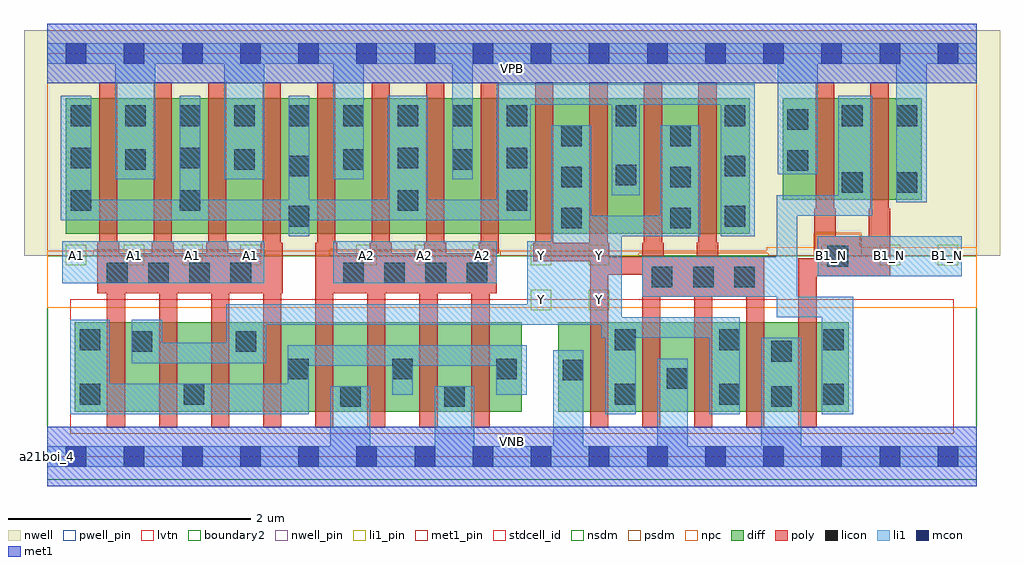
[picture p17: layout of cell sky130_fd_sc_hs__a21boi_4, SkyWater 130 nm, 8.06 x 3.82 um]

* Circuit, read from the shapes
.subckt sky130_fd_sc_hs__a21boi_4 A1 A2 B1_N VGND VNB VPB VPWR Y
XM1 Y A1 n1 VNB sky130_fd_pr__nfet_01v8_lvt w=0.74 l=0.15 m=4
XM2 VGND A2 n1 VNB sky130_fd_pr__nfet_01v8_lvt w=0.74 l=0.15 m=4
XM3 Y n2 VGND VNB sky130_fd_pr__nfet_01v8_lvt w=0.74 l=0.15 m=4
XM4 n2 B1_N VGND VNB sky130_fd_pr__nfet_01v8_lvt w=0.74 l=0.15
XM5 VPWR A1 n3 VPB sky130_fd_pr__pfet_01v8 w=1.12 l=0.15 m=4
XM6 VPWR A2 n3 VPB sky130_fd_pr__pfet_01v8 w=1.12 l=0.15 m=4
XM7 Y n2 n3 VPB sky130_fd_pr__pfet_01v8 w=1.12 l=0.15 m=4
XM8 n2 B1_N VPWR VPB sky130_fd_pr__pfet_01v8 w=0.84 l=0.15 m=2
.ends

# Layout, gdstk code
import gdstk
lib = gdstk.Library(unit=1e-6, precision=1e-09)
def R(c, l, rs):  # rectangles x0, y0, x1, y1
    for r in rs: c.add(gdstk.rectangle(r[:2], r[2:], *l))
def A(c, l, x, y, w, h, nx, ny, dx, dy):  # array of equal rectangles
    R(c, l, [(x+i*dx, y+j*dy, x+i*dx+w, y+j*dy+h) for i in range(nx) for j in range(ny)])
def P(c, l, *ps):  # polygons
    for p in ps: c.add(gdstk.Polygon(p, *l))
nwell_pin = (64, 16)
nwell = (64, 20)
diff = (65, 20)
poly = (66, 20)
licon = (66, 44)
li1_pin = (67, 16)
li1 = (67, 20)
mcon = (67, 44)
met1_pin = (68, 16)
met1 = (68, 20)
stdcell_id = (81, 4)
nsdm = (93, 44)
psdm = (94, 20)
npc = (95, 20)
pwell_pin = (122, 16)
lvtn = (125, 44)
boundary2 = (236, 0)

sky130_fd_sc_hs__a21boi_ = lib.new_cell('sky130_fd_sc_hs__a21boi_4')
R(sky130_fd_sc_hs__a21boi_, nwell_pin, [(0,3.085,7.68,3.33)])
R(sky130_fd_sc_hs__a21boi_, nwell, [(-0.19,1.66,7.87,3.52)])
R(sky130_fd_sc_hs__a21boi_, diff, [(0.23,0.37,3.92,1.11), (4.22,0.37,6.62,1.11), (0.155,1.84,5.805,2.96), (6.075,2.12,7.225,2.96)])
P(sky130_fd_sc_hs__a21boi_, poly, [(1.945,1.765),(1.93,1.765),(1.93,3.09),(1.78,3.09),(1.78,1.765),(1.765,1.765),(1.765,1.68),(1.495,1.68),(1.495,1.765),(1.48,1.765),(1.48,3.09),(1.33,3.09),(1.33,1.765),(1.315,1.765),(1.315,1.68),(1.045,1.68),(1.045,1.765),(1.03,1.765),(1.03,3.09),(0.88,3.09),(0.88,1.765),(0.865,1.765),(0.865,1.68),(0.595,1.68),(0.595,1.765),(0.58,1.765),(0.58,3.09),(0.43,3.09),(0.43,1.765),(0.415,1.765),(0.415,1.35),(0.495,1.35),(0.495,0.24),(0.645,0.24),(0.645,1.35),(0.925,1.35),(0.925,0.24),(1.075,0.24),(1.075,1.35),(1.355,1.35),(1.355,0.24),(1.505,0.24),(1.505,1.35),(1.785,1.35),(1.785,0.24),(1.935,0.24),(1.935,1.35),(1.945,1.35)],
  [(3.73,3.09),(3.58,3.09),(3.58,1.765),(3.565,1.765),(3.565,1.68),(3.295,1.68),(3.295,1.765),(3.28,1.765),(3.28,3.09),(3.13,3.09),(3.13,1.765),(3.115,1.765),(3.115,1.68),(2.845,1.68),(2.845,1.765),(2.83,1.765),(2.83,3.09),(2.68,3.09),(2.68,1.765),(2.665,1.765),(2.665,1.68),(2.395,1.68),(2.395,1.765),(2.38,1.765),(2.38,3.09),(2.23,3.09),(2.23,1.765),(2.215,1.765),(2.215,0.24),(2.365,0.24),(2.365,1.35),(2.645,1.35),(2.645,0.24),(2.795,0.24),(2.795,1.35),(3.075,1.35),(3.075,0.24),(3.225,0.24),(3.225,1.35),(3.505,1.35),(3.505,0.24),(3.655,0.24),(3.655,1.35),(3.715,1.35),(3.715,1.68),(3.73,1.68)],
  [(5.925,1.65),(5.545,1.65),(5.545,1.765),(5.53,1.765),(5.53,3.09),(5.38,3.09),(5.38,1.765),(5.365,1.765),(5.365,1.65),(5.095,1.65),(5.095,1.765),(5.08,1.765),(5.08,3.09),(4.93,3.09),(4.93,1.765),(4.915,1.765),(4.915,1.65),(4.645,1.65),(4.645,1.765),(4.63,1.765),(4.63,3.09),(4.48,3.09),(4.48,1.765),(4.18,1.765),(4.18,3.09),(4.03,3.09),(4.03,1.765),(4.015,1.765),(4.015,1.615),(4.485,1.615),(4.485,0.24),(4.635,0.24),(4.635,1.5),(4.915,1.5),(4.915,0.24),(5.065,0.24),(5.065,1.32),(5.345,1.32),(5.345,0.24),(5.495,0.24),(5.495,1.32),(5.775,1.32),(5.775,0.24),(5.925,0.24)],
  [(6.965,2.045),(6.95,2.045),(6.95,3.09),(6.8,3.09),(6.8,2.045),(6.785,2.045),(6.785,1.82),(6.515,1.82),(6.515,2.045),(6.5,2.045),(6.5,3.09),(6.35,3.09),(6.35,2.045),(6.335,2.045),(6.335,1.64),(6.205,1.64),(6.205,0.24),(6.355,0.24),(6.355,1.49),(6.965,1.49)])
A(sky130_fd_sc_hs__a21boi_, licon, 4.69, 0.43, 0.17, 0.17, 3, 2, 0.86, 0.45)
A(sky130_fd_sc_hs__a21boi_, licon, 1.99, 0.64, 0.17, 0.17, 3, 1, 0.86, 0)
A(sky130_fd_sc_hs__a21boi_, licon, 4.995, 1.4, 0.17, 0.17, 3, 1, 0.34, 0)
A(sky130_fd_sc_hs__a21boi_, licon, 0.495, 1.43, 0.17, 0.17, 4, 1, 0.34, 0)
A(sky130_fd_sc_hs__a21boi_, licon, 2.445, 1.43, 0.17, 0.17, 4, 1, 0.34, 0)
A(sky130_fd_sc_hs__a21boi_, licon, 4.245, 1.885, 0.17, 0.17, 1, 3, 0, 0.34)
A(sky130_fd_sc_hs__a21boi_, licon, 5.145, 1.885, 0.17, 0.17, 1, 3, 0, 0.34)
A(sky130_fd_sc_hs__a21boi_, licon, 5.595, 1.9, 0.17, 0.17, 1, 3, 0, 0.415)
A(sky130_fd_sc_hs__a21boi_, licon, 0.645, 2.37, 0.17, 0.17, 4, 1, 0.9, 0)
A(sky130_fd_sc_hs__a21boi_, licon, 0.195, 2.73, 0.17, 0.17, 9, 1, 0.45, 0)
R(sky130_fd_sc_hs__a21boi_, licon, [(2.42,0.41,2.59,0.58), (3.28,0.41,3.45,0.58), (5.98,0.41,6.15,0.58), (0.27,0.43,0.44,0.6), (1.13,0.43,1.3,0.6), (5.12,0.56,5.29,0.73), (4.26,0.63,4.43,0.8), (5.98,0.785,6.15,0.955), (0.7,0.865,0.87,1.035), (1.56,0.865,1.73,1.035), (0.27,0.88,0.44,1.05), (6.445,1.57,6.615,1.74), (1.995,1.9,2.165,2.07), (0.195,2.03,0.365,2.2), (1.095,2.03,1.265,2.2), (2.895,2.03,3.065,2.2), (3.795,2.03,3.965,2.2), (6.565,2.18,6.735,2.35), (7.015,2.18,7.185,2.35), (4.695,2.24,4.865,2.41), (1.995,2.315,2.165,2.485), (6.115,2.36,6.285,2.53), (0.195,2.38,0.365,2.55), (1.095,2.38,1.265,2.55), (2.895,2.38,3.065,2.55), (3.795,2.38,3.965,2.55), (6.115,2.7,6.285,2.87), (4.695,2.73,4.865,2.9), (6.565,2.73,6.735,2.9), (7.015,2.73,7.185,2.9)])
A(sky130_fd_sc_hs__a21boi_, li1_pin, 0.155, 1.58, 0.17, 0.17, 4, 1, 0.48, 0)
A(sky130_fd_sc_hs__a21boi_, li1_pin, 2.555, 1.58, 0.17, 0.17, 5, 1, 0.48, 0)
A(sky130_fd_sc_hs__a21boi_, li1_pin, 6.395, 1.58, 0.17, 0.17, 3, 1, 0.48, 0)
R(sky130_fd_sc_hs__a21boi_, li1_pin, [(3.995,1.21,4.165,1.38), (4.475,1.21,4.645,1.38)])
R(sky130_fd_sc_hs__a21boi_, li1, [(0.125,1.43,1.795,1.78), (2.365,1.43,3.715,1.78), (6.365,1.49,7.555,1.82)])
P(sky130_fd_sc_hs__a21boi_, li1, [(7.015,2.1),(7.015,3.245),(6.365,3.245),(6.365,2.33),(6.035,2.33),(6.035,3.245),(3.515,3.245),(3.515,2.29),(3.345,2.29),(3.345,3.245),(2.615,3.245),(2.615,2.29),(2.365,2.29),(2.365,3.245),(1.795,3.245),(1.795,2.29),(1.465,2.29),(1.465,3.245),(0.895,3.245),(0.895,2.29),(0.565,2.29),(0.565,3.245),(0,3.245),(0,3.415),(7.68,3.415),(7.68,3.245),(7.265,3.245),(7.265,2.1)],
  [(3.2,0.085),(3.2,0.58),(3.53,0.58),(3.53,0.085),(4.18,0.085),(4.18,0.88),(4.43,0.88),(4.43,0.085),(5.04,0.085),(5.04,0.81),(5.29,0.81),(5.29,0.085),(5.9,0.085),(5.9,0.98),(6.23,0.98),(6.23,0.085),(7.68,0.085),(7.68,-0.085),(0,-0.085),(0,0.085),(2.34,0.085),(2.34,0.58),(2.67,0.58),(2.67,0.085)],
  [(6.025,1.65),(6.025,2.16),(6.535,2.16),(6.535,2.98),(6.815,2.98),(6.815,1.99),(6.195,1.99),(6.195,1.32),(6.66,1.32),(6.66,0.35),(6.4,0.35),(6.4,1.15),(6.025,1.15),(6.025,1.32),(4.915,1.32),(4.915,1.65)],
  [(4.665,2.16),(4.665,2.905),(3.995,2.905),(3.995,1.95),(2.165,1.95),(2.165,1.82),(1.995,1.82),(1.995,1.95),(0.115,1.95),(0.115,2.98),(0.365,2.98),(0.365,2.12),(1.095,2.12),(1.095,2.98),(1.265,2.98),(1.265,2.12),(1.995,2.12),(1.995,2.98),(2.165,2.98),(2.165,2.12),(2.815,2.12),(2.815,2.98),(3.145,2.98),(3.145,2.12),(3.715,2.12),(3.715,3.075),(5.845,3.075),(5.845,1.82),(5.565,1.82),(5.565,2.905),(4.895,2.905),(4.895,2.16)],
  [(3.965,1.26),(3.965,1.78),(4.165,1.78),(4.165,2.735),(4.495,2.735),(4.495,1.99),(5.065,1.99),(5.065,2.735),(5.395,2.735),(5.395,1.82),(4.745,1.82),(4.745,1.15),(5.72,1.15),(5.72,0.35),(5.47,0.35),(5.47,0.98),(4.86,0.98),(4.86,0.35),(4.61,0.35),(4.61,0.98),(4.575,0.98),(4.575,1.09),(1.81,1.09),(1.81,0.77),(0.7,0.77),(0.7,1.13),(0.95,1.13),(0.95,0.94),(1.48,0.94),(1.48,1.26)],
  [(2.85,0.51),(2.85,0.75),(2.16,0.75),(2.16,0.35),(0.19,0.35),(0.19,1.13),(0.52,1.13),(0.52,0.6),(1.99,0.6),(1.99,0.92),(3.96,0.92),(3.96,0.51),(3.71,0.51),(3.71,0.75),(3.02,0.75),(3.02,0.51)])
A(sky130_fd_sc_hs__a21boi_, mcon, 0.155, -0.085, 0.17, 0.17, 16, 2, 0.48, 3.33)
R(sky130_fd_sc_hs__a21boi_, met1_pin, [(0,0,7.68,0.245), (0,3.085,7.68,3.33)])
R(sky130_fd_sc_hs__a21boi_, met1, [(0,-0.245,7.68,0.245), (0,3.085,7.68,3.575)])
R(sky130_fd_sc_hs__a21boi_, stdcell_id, [(0,0,7.68,3.33)])
R(sky130_fd_sc_hs__a21boi_, nsdm, [(0,-0.19,7.68,1.66)])
P(sky130_fd_sc_hs__a21boi_, psdm, [(7.68,3.52),(0,3.52),(0,1.66),(0.385,1.66),(0.385,1.71),(1.795,1.71),(1.795,1.66),(2.335,1.66),(2.335,1.71),(3.745,1.71),(3.745,1.66),(4.885,1.66),(4.885,1.68),(5.955,1.68),(5.955,1.66),(6.335,1.66),(6.335,1.85),(6.725,1.85),(6.725,1.66),(7.68,1.66)])
P(sky130_fd_sc_hs__a21boi_, npc, [(7.68,1.73),(6.715,1.73),(6.715,1.84),(6.345,1.84),(6.345,1.73),(5.945,1.73),(5.945,1.7),(0,1.7),(0,1.23),(7.68,1.23)])
R(sky130_fd_sc_hs__a21boi_, pwell_pin, [(0,0,7.68,0.245)])
R(sky130_fd_sc_hs__a21boi_, lvtn, [(0.19,0.19,7.49,1.3)])
R(sky130_fd_sc_hs__a21boi_, boundary2, [(0,0,7.68,3.33)])
sky130_fd_sc_hs__a21boi_.add(gdstk.Label('a21boi_4', (0,0), layer=83, texttype=44))
sky130_fd_sc_hs__a21boi_.add(gdstk.Label('VNB', (3.84,0.123), layer=64, texttype=59))
sky130_fd_sc_hs__a21boi_.add(gdstk.Label('VPB', (3.84,3.208), layer=64, texttype=5))
sky130_fd_sc_hs__a21boi_.add(gdstk.Label('VPWR', (3.84,3.208), layer=68, texttype=5))
sky130_fd_sc_hs__a21boi_.add(gdstk.Label('VGND', (3.84,0.123), layer=68, texttype=5))
sky130_fd_sc_hs__a21boi_.add(gdstk.Label('B1_N', (6.48,1.665), layer=67, texttype=5))
sky130_fd_sc_hs__a21boi_.add(gdstk.Label('B1_N', (6.96,1.665), layer=67, texttype=5))
sky130_fd_sc_hs__a21boi_.add(gdstk.Label('B1_N', (7.44,1.665), layer=67, texttype=5))
sky130_fd_sc_hs__a21boi_.add(gdstk.Label('Y', (4.08,1.295), layer=67, texttype=5))
sky130_fd_sc_hs__a21boi_.add(gdstk.Label('Y', (4.08,1.665), layer=67, texttype=5))
sky130_fd_sc_hs__a21boi_.add(gdstk.Label('Y', (4.56,1.295), layer=67, texttype=5))
sky130_fd_sc_hs__a21boi_.add(gdstk.Label('Y', (4.56,1.665), layer=67, texttype=5))
sky130_fd_sc_hs__a21boi_.add(gdstk.Label('A2', (2.64,1.665), layer=67, texttype=5))
sky130_fd_sc_hs__a21boi_.add(gdstk.Label('A2', (3.12,1.665), layer=67, texttype=5))
sky130_fd_sc_hs__a21boi_.add(gdstk.Label('A2', (3.6,1.665), layer=67, texttype=5))
sky130_fd_sc_hs__a21boi_.add(gdstk.Label('A1', (0.24,1.665), layer=67, texttype=5))
sky130_fd_sc_hs__a21boi_.add(gdstk.Label('A1', (0.72,1.665), layer=67, texttype=5))
sky130_fd_sc_hs__a21boi_.add(gdstk.Label('A1', (1.2,1.665), layer=67, texttype=5))
sky130_fd_sc_hs__a21boi_.add(gdstk.Label('A1', (1.68,1.665), layer=67, texttype=5))

lib.write_gds('sky130_fd_sc_hs__a21boi_4.gds')
